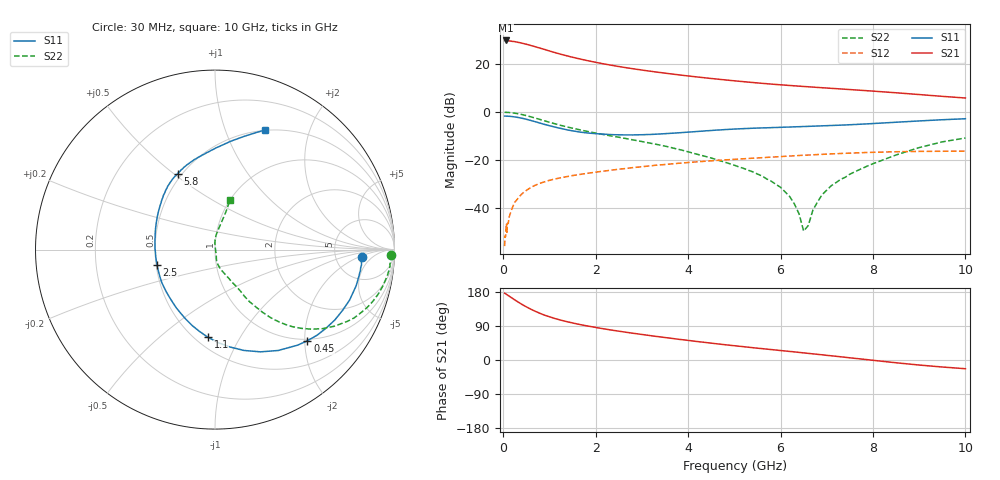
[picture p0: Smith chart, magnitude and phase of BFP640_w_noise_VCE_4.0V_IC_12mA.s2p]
! Infineon Technologies  Discrete & RF Semiconductors
! BFP640
! VCE =  4.0 V,  IC =  12 mA
! Common Emitter S-Parameters:  Apr 2013
# GHz  S  MA  R  50
!  f  S11  S21  S12  S22
! GHz  MAG  ANG  MAG  ANG  MAG  ANG  MAG  ANG
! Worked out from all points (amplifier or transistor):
!   99 points, 30 MHz to 10 GHz, reference 50 ohm
!   highest |S21| = 29.8 dB at 50 MHz (marker M1)
!   |S21| within 3 dB of that: start of sweep to 760.8 MHz
!   unconditionally stable (mu >= 1): 3.447 GHz to end of sweep
!   at 350 MHz: K = 0.21, MSG = 32.1 dB, |S12| = -35.2 dB
!   at 3.5 GHz: K = 1.00, MAG = 18.6 dB, |S12| = -21.9 dB
!   at 10 GHz: K = 1.09, MAG = 9.2 dB, |S12| = -16.3 dB
!   lowest NFmin = 0.69 dB at 450 MHz
!   S11 on the Smith chart (normalised r, x): 30 MHz: 9.58, -2.35; 450 MHz: 0.97, -2.06; 1.1 GHz: 0.58, -0.74; 2.5 GHz: 0.51, -0.10; 5.8 GHz: 0.47, +0.52; 10 GHz: 0.50, +1.38
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0.03  0.8208 -2.8  30.66 176.3  0.0016 65.2  0.9795 -1.6
0.05  0.8185 -4.8  30.86 175.0  0.0025 109.2  0.9799 -2.8
0.11  0.8137 -11.3  30.48 169.9  0.0048 71.1  0.978 -6.8
0.25  0.7872 -25.5  29.18 158.5  0.0132 75.4  0.9424 -15.3
0.35  0.7583 -35.2  27.85 150.9  0.0173 71.8  0.9066 -20.9
0.45  0.7231 -44.6  26.45 143.6  0.0214 68.4  0.8641 -26.1
0.6  0.6635 -57.9  24.23 133.9  0.0268 63.5  0.7902 -32.7
0.7  0.6235 -66.0  22.73 128.2  0.0299 60.7  0.7425 -36.4
0.9  0.5484 -81.4  19.97 118.1  0.0352 56.0  0.6507 -42.4
1.1  0.4899 -94.6  17.45 110.2  0.0398 52.8  0.5738 -46.7
1.4  0.4206 -112.7  14.58 100.5  0.0454 49.6  0.4832 -51.0
1.7  0.3763 -129.0  12.45 92.6  0.0507 47.3  0.4154 -53.5
2.1  0.3489 -148.2  10.36 83.8  0.0574 44.7  0.3483 -56.5
2.5  0.3343 -165.3  8.843 76.1  0.0641 42.5  0.2977 -57.9
3.4  0.3484 162.4  6.621 60.9  0.079 36.7  0.2036 -62.5
5.1  0.4448 125.2  4.363 36.4  0.1045 24.9  0.0716 -80.9
5.8  0.4717 116.2  3.807 27.5  0.1144 20.0  0.0361 -78.6
6.2  0.4849 111.9  3.56 22.6  0.1206 17.1  0.0172 -72.7
6.5  0.4979 108.2  3.396 18.8  0.1253 14.6  0.0033 -21.6
6.7  0.5053 105.7  3.295 16.2  0.1281 13.0  0.009 77.3
8.5  0.6109 81.6  2.509 -7.3  0.1484 -3.4  0.1271 79.1
10  0.7222 67.3  1.953 -23.0  0.1531 -14.5  0.2868 73.4
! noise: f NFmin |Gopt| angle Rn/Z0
0.45  0.69  0.21  8  0.03
0.9  0.7  0.2  17  0.04
1.5  0.72  0.18  28  0.05
1.9  0.74  0.14  47  0.05
2.4  0.78  0.12  58  0.06
3.5  0.9  0.11  69  0.08
5.5  1.11  0.21  -115  0.11
10  1.67  0.58  -59  0.41
